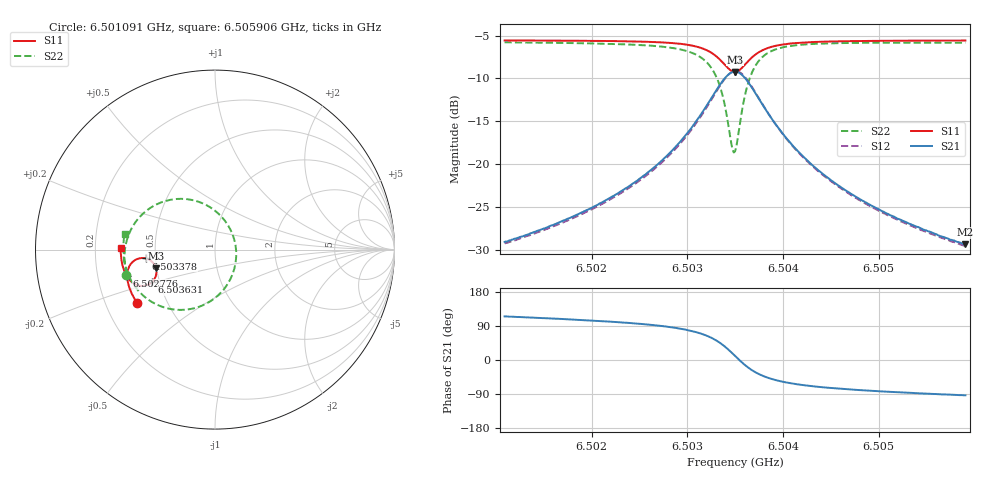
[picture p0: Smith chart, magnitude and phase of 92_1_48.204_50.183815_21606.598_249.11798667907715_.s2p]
#  HZ  S  RI  R  50.00
! Rohde & Schwarz Vector Network Analyzer
! Rohde-Schwarz,ZNB20-2Port,1311601062101988,3.16
! Created: UTC 3/20/2024, 11:40:07 AM
! freq[Hz]  re:S11  im:S11  re:S21  im:S21  re:S12  im:S12  re:S22  im:S22
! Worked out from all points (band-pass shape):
!   401 points, 6.501091 GHz to 6.505906 GHz, reference 50 ohm
!   highest |S21| = -9.21 dB at 6.503498 GHz (marker M1); lowest = -29.4 dB at 6.505906 GHz (marker M2)
!   |S21| within 3 dB of the highest: 6.503257 GHz to 6.503739 GHz (481.8 kHz wide, 0.00741 % of centre)
!   lowest |S11| = -9.2 dB at 6.503498 GHz (marker M3), VSWR 2.05, Z = 24.8 - j5.77 ohm
!   |S11| at or under -10 dB: nowhere
!   |S22| runs from -18.7 to -5.8 dB; largest |S21 - S12| = 0.012
!   S11 on the Smith chart (normalised r, x): 6.501091 GHz: 0.34, -0.28; 6.502776 GHz: 0.33, -0.13; 6.503378 GHz: 0.44, -0.05; 6.503631 GHz: 0.45, -0.20; 6.505906 GHz: 0.31, +0.01
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6.5010905e9  -0.4325 -0.3001  -0.0149 0.0318  -0.0131 0.0318  -0.4939 -0.1403
6.5018972e9  -0.4663 -0.2392  -0.0138 0.0504  -0.0116 0.0497  -0.5045 -0.0518
6.5023667e9  -0.4822 -0.1962  -0.0103 0.0719  -0.00727 0.0707  -0.499 0.0186
6.5027039e9  -0.4892 -0.1572  -0.000914 0.1011  0.00273 0.0987  -0.478 0.0904
6.5027761e9  -0.4898 -0.1473  0.00317 0.1103  0.00692 0.1074  -0.4689 0.1101
6.5029808e9  -0.4858 -0.1137  0.0251 0.1447  0.0288 0.1403  -0.4228 0.1781
6.5031373e9  -0.4704 -0.0814  0.0657 0.1814  0.0684 0.1753  -0.3439 0.2423
6.5032818e9  -0.4315 -0.0519  0.1494 0.2102  0.15 0.2038  -0.1909 0.2828
6.5033781e9  -0.384 -0.0496  0.243 0.1925  0.243 0.1879  -0.0291 0.2373
6.5034624e9  -0.3405 -0.0798  0.3223 0.1156  0.3249 0.1113  0.0976 0.0852
6.5034985e9  -0.3296 -0.1025  0.3399 0.0655  0.3436 0.0602  0.118 -0.00881
6.5035226e9  -0.3265 -0.1191  0.3432 0.0303  0.3471 0.0233  0.1148 -0.0737
6.5035587e9  -0.3289 -0.1436  0.3351 -0.0209  0.3388 -0.03  0.0856 -0.1644
6.5036309e9  -0.3516 -0.1814  0.2869 -0.0982  0.2869 -0.1101  -0.0279 -0.2892
6.5036791e9  -0.3727 -0.1952  0.246 -0.1274  0.2431 -0.1388  -0.1138 -0.3262
6.5037393e9  -0.3983 -0.2018  0.198 -0.1439  0.1926 -0.1539  -0.208 -0.3356
6.5038838e9  -0.4432 -0.1938  0.1175 -0.1409  0.1101 -0.1465  -0.3538 -0.2904
6.5040523e9  -0.4727 -0.1726  0.0687 -0.1196  0.062 -0.1221  -0.4329 -0.2217
6.5043052e9  -0.4955 -0.1415  0.0352 -0.0923  0.0302 -0.0927  -0.4814 -0.1429
6.5046904e9  -0.5119 -0.1004  0.0147 -0.0666  0.0114 -0.0661  -0.5052 -0.0625
6.5051118e9  -0.5207 -0.0607  0.00528 -0.0503  0.00291 -0.0496  -0.5108 -0.000705
6.5059065e9  -0.5259 0.00723  -0.00192 -0.0339  -0.00327 -0.033  -0.5036 0.086
